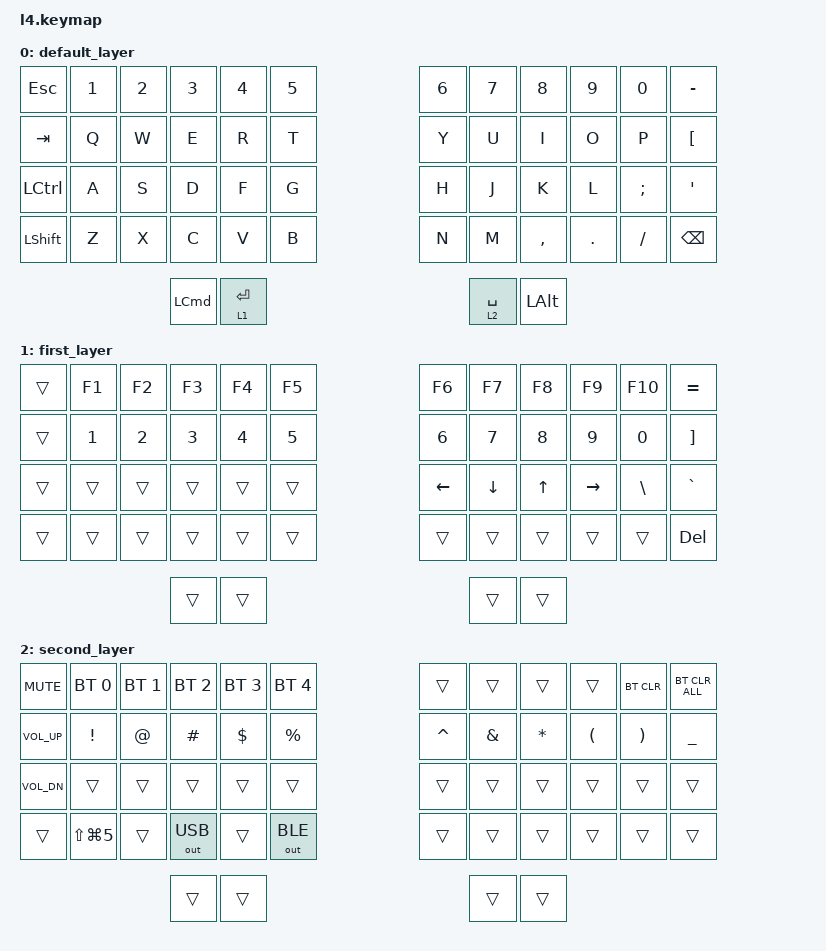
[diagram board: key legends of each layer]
#include <behaviors.dtsi>
#include <dt-bindings/zmk/keys.h>
#include <dt-bindings/zmk/bt.h>
#include <dt-bindings/zmk/outputs.h>

&lt {
  quick-tap-ms = <200>;
};

/ {
  behaviors {
    boot_unlock: boot_unlock {
      compatible = "zmk,behavior-hold-tap";
      #binding-cells = <2>;
      flavor = "hold-preferred";
      tapping-term-ms = <3000>;
      bindings = <&bootloader>, <&studio_unlock>;
      display-name = "Boot-unlock";
    };
  };

  combos {
    compatible = "zmk,combos";
    combo_studio {
      timeout-ms = <50>;
      key-positions = <0 5 36 41>; // ESC + 5 + LSHIFT + B
      bindings = <&boot_unlock 0 0>;
    };
  };

  keymap {
    compatible = "zmk,keymap";

    default_layer {
      bindings = <
&kp ESC   &kp N1  &kp N2  &kp N3   &kp N4      &kp N5  &kp N6  &kp N7      &kp N8    &kp N9  &kp N0    &kp MINUS
&kp TAB   &kp Q   &kp W   &kp E    &kp R       &kp T   &kp Y   &kp U       &kp I     &kp O   &kp P     &kp LBKT
&kp LCTRL &kp A   &kp S   &kp D    &kp F       &kp G   &kp H   &kp J       &kp K     &kp L   &kp SEMI  &kp APOS
&kp LSHFT &kp Z   &kp X   &kp C    &kp V       &kp B   &kp N   &kp M       &kp COMMA &kp DOT &kp SLASH &kp BSPC
                          &kp LCMD &lt 1 ENTER                 &lt 2 SPACE &kp LALT
      >;
		};

    first_layer {
      bindings = <
&trans  &kp F1  &kp F2  &kp F3  &kp F4  &kp F5  &kp F6   &kp F7   &kp F8  &kp F9    &kp F10  &kp EQUAL
&trans  &kp N1  &kp N2  &kp N3  &kp N4  &kp N5  &kp N6   &kp N7   &kp N8  &kp N9    &kp N0   &kp RBKT
&trans  &trans  &trans  &trans  &trans  &trans  &kp LEFT &kp DOWN &kp UP  &kp RIGHT &kp BSLH &kp GRAVE
&trans  &trans  &trans  &trans  &trans  &trans  &trans   &trans   &trans  &trans    &trans   &kp DEL
                        &trans  &trans                   &trans   &trans
      >;
    };

    second_layer {
      bindings = <
&kp C_MUTE   &bt BT_SEL 0   &bt BT_SEL 1  &bt BT_SEL 2  &bt BT_SEL 3  &bt BT_SEL 4  &trans    &trans   &trans   &trans   &bt BT_CLR  &bt BT_CLR_ALL
&kp C_VOL_UP &kp EXCL       &kp AT        &kp HASH      &kp DLLR      &kp PRCNT     &kp CARET &kp AMPS &kp STAR &kp LPAR &kp RPAR    &kp UNDER
&kp C_VOL_DN &trans         &trans        &trans        &trans        &trans        &trans    &trans   &trans   &trans   &trans      &trans
&trans       &kp LS(LG(N5)) &trans        &out OUT_USB  &trans        &out OUT_BLE  &trans    &trans   &trans   &trans   &trans      &trans
                                          &trans        &trans                                &trans   &trans
      >;
    };

    extra1 {
      status = "reserved";
    };
    extra2 {
      status = "reserved";
    };
  };
};
